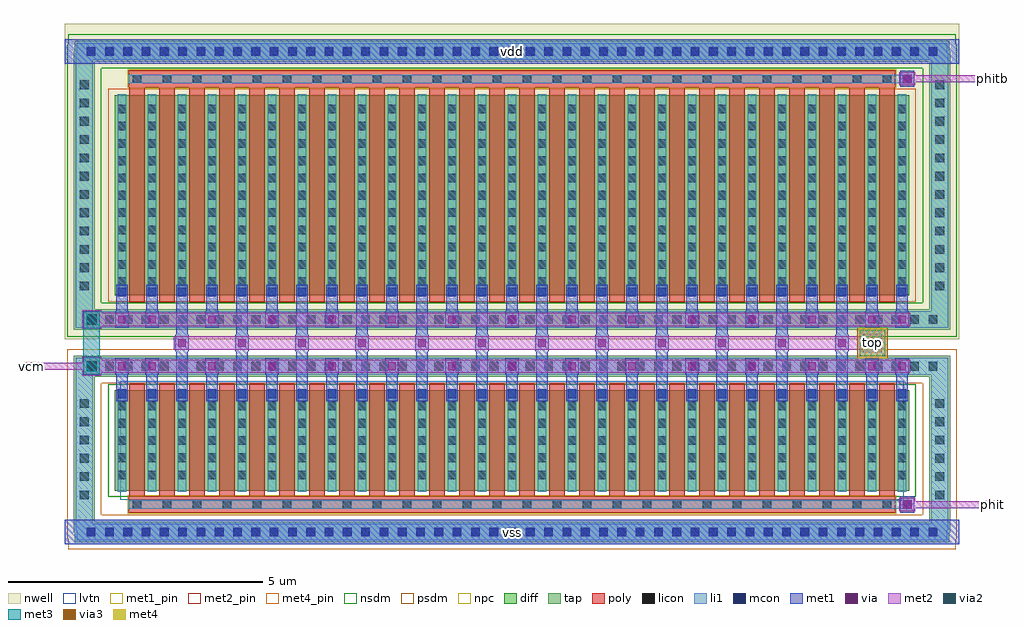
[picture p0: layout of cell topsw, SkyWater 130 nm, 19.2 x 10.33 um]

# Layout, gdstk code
import gdstk
lib = gdstk.Library(unit=1e-6, precision=1e-09)
def R(c, l, rs):  # rectangles x0, y0, x1, y1
    for r in rs: c.add(gdstk.rectangle(r[:2], r[2:], *l))
def A(c, l, x, y, w, h, nx, ny, dx, dy):  # array of equal rectangles
    R(c, l, [(x+i*dx, y+j*dy, x+i*dx+w, y+j*dy+h) for i in range(nx) for j in range(ny)])
nwell = (64, 20)
diff = (65, 20)
tap = (65, 44)
poly = (66, 20)
licon = (66, 44)
li1 = (67, 20)
mcon = (67, 44)
met1_pin = (68, 16)
met1 = (68, 20)
via = (68, 44)
met2_pin = (69, 16)
met2 = (69, 20)
via2 = (69, 44)
met3 = (70, 20)
via3 = (70, 44)
met4_pin = (71, 16)
met4 = (71, 20)
nsdm = (93, 44)
psdm = (94, 20)
npc = (95, 20)
lvtn = (125, 44)

topsw = lib.new_cell('topsw')
R(topsw, nwell, [(-8.8,4.035,8.8,10.235)])
A(topsw, diff, -7.815, 1.055, 0.88, 1.97, 26, 1, 0.59, 0)
A(topsw, diff, -7.815, 4.895, 0.88, 3.94, 26, 1, 0.59, 0)
R(topsw, tap, [(-8.6,0.035,8.6,0.445), (-8.62,0.24,-8.21,3.5), (8.21,0.24,8.62,3.5), (-8.62,3.295,8.62,3.705), (-8.62,4.215,8.62,4.625), (-8.62,4.42,-8.21,9.695), (8.21,4.42,8.62,9.695), (-8.6,9.49,8.6,9.9)])
A(topsw, poly, -7.54, 0.615, 0.33, 0.33, 26, 2, 0.59, 8.375)
A(topsw, poly, -7.22, 0.615, 0.28, 0.33, 25, 2, 0.59, 8.375)
A(topsw, poly, -7.525, 0.945, 0.3, 2.21, 26, 1, 0.59, 0)
A(topsw, poly, -7.525, 4.765, 0.3, 4.225, 26, 1, 0.59, 0)
A(topsw, licon, -8.365, 0.155, 0.17, 0.17, 47, 2, 0.36, 3.26)
A(topsw, licon, -7.46, 0.695, 0.17, 0.17, 26, 2, 0.59, 8.375)
A(topsw, licon, -8.5, 0.885, 0.17, 0.17, 1, 6, 0, 0.36)
A(topsw, licon, 8.33, 0.885, 0.17, 0.17, 1, 6, 0, 0.36)
A(topsw, licon, -7.755, 1.275, 0.17, 0.17, 1, 5, 0, 0.34)
A(topsw, licon, 7.585, 1.275, 0.17, 0.17, 1, 5, 0, 0.34)
A(topsw, licon, -8.365, 4.335, 0.17, 0.17, 47, 2, 0.36, 5.275)
A(topsw, licon, -8.5, 4.995, 0.17, 0.17, 1, 12, 0, 0.36)
A(topsw, licon, 8.33, 4.995, 0.17, 0.17, 1, 12, 0, 0.36)
A(topsw, licon, -7.755, 5.08, 0.17, 0.17, 1, 11, 0, 0.34)
A(topsw, licon, 7.585, 5.08, 0.17, 0.17, 1, 11, 0, 0.34)
R(topsw, licon, [(-7.165,1.275,-6.995,1.445), (-7.165,1.275,-6.995,1.445), (-6.575,1.275,-6.405,1.445), (-6.575,1.275,-6.405,1.445), (-5.985,1.275,-5.815,1.445), (-5.985,1.275,-5.815,1.445), (-5.395,1.275,-5.225,1.445), (-5.395,1.275,-5.225,1.445), (-4.805,1.275,-4.635,1.445), (-4.805,1.275,-4.635,1.445), (-4.215,1.275,-4.045,1.445), (-4.215,1.275,-4.045,1.445), (-3.625,1.275,-3.455,1.445), (-3.625,1.275,-3.455,1.445), (-3.035,1.275,-2.865,1.445), (-3.035,1.275,-2.865,1.445), (-2.445,1.275,-2.275,1.445), (-2.445,1.275,-2.275,1.445), (-1.855,1.275,-1.685,1.445), (-1.855,1.275,-1.685,1.445), (-1.265,1.275,-1.095,1.445), (-1.265,1.275,-1.095,1.445), (-0.675,1.275,-0.505,1.445), (-0.675,1.275,-0.505,1.445), (-0.085,1.275,0.085,1.445), (-0.085,1.275,0.085,1.445), (0.505,1.275,0.675,1.445), (0.505,1.275,0.675,1.445), (1.095,1.275,1.265,1.445), (1.095,1.275,1.265,1.445), (1.685,1.275,1.855,1.445), (1.685,1.275,1.855,1.445), (2.275,1.275,2.445,1.445), (2.275,1.275,2.445,1.445), (2.865,1.275,3.035,1.445), (2.865,1.275,3.035,1.445), (3.455,1.275,3.625,1.445), (3.455,1.275,3.625,1.445), (4.045,1.275,4.215,1.445), (4.045,1.275,4.215,1.445), (4.635,1.275,4.805,1.445), (4.635,1.275,4.805,1.445), (5.225,1.275,5.395,1.445), (5.225,1.275,5.395,1.445), (5.815,1.275,5.985,1.445), (5.815,1.275,5.985,1.445), (6.405,1.275,6.575,1.445), (6.405,1.275,6.575,1.445), (6.995,1.275,7.165,1.445), (6.995,1.275,7.165,1.445), (-7.165,1.615,-6.995,1.785), (-7.165,1.615,-6.995,1.785), (-6.575,1.615,-6.405,1.785), (-6.575,1.615,-6.405,1.785), (-5.985,1.615,-5.815,1.785), (-5.985,1.615,-5.815,1.785), (-5.395,1.615,-5.225,1.785), (-5.395,1.615,-5.225,1.785), (-4.805,1.615,-4.635,1.785), (-4.805,1.615,-4.635,1.785), (-4.215,1.615,-4.045,1.785), (-4.215,1.615,-4.045,1.785), (-3.625,1.615,-3.455,1.785), (-3.625,1.615,-3.455,1.785), (-3.035,1.615,-2.865,1.785), (-3.035,1.615,-2.865,1.785), (-2.445,1.615,-2.275,1.785), (-2.445,1.615,-2.275,1.785), (-1.855,1.615,-1.685,1.785), (-1.855,1.615,-1.685,1.785), (-1.265,1.615,-1.095,1.785), (-1.265,1.615,-1.095,1.785), (-0.675,1.615,-0.505,1.785), (-0.675,1.615,-0.505,1.785), (-0.085,1.615,0.085,1.785), (-0.085,1.615,0.085,1.785), (0.505,1.615,0.675,1.785), (0.505,1.615,0.675,1.785), (1.095,1.615,1.265,1.785), (1.095,1.615,1.265,1.785), (1.685,1.615,1.855,1.785), (1.685,1.615,1.855,1.785), (2.275,1.615,2.445,1.785), (2.275,1.615,2.445,1.785), (2.865,1.615,3.035,1.785), (2.865,1.615,3.035,1.785), (3.455,1.615,3.625,1.785), (3.455,1.615,3.625,1.785), (4.045,1.615,4.215,1.785), (4.045,1.615,4.215,1.785), (4.635,1.615,4.805,1.785), (4.635,1.615,4.805,1.785), (5.225,1.615,5.395,1.785), (5.225,1.615,5.395,1.785), (5.815,1.615,5.985,1.785), (5.815,1.615,5.985,1.785), (6.405,1.615,6.575,1.785), (6.405,1.615,6.575,1.785), (6.995,1.615,7.165,1.785), (6.995,1.615,7.165,1.785), (-7.165,1.955,-6.995,2.125), (-7.165,1.955,-6.995,2.125), (-6.575,1.955,-6.405,2.125), (-6.575,1.955,-6.405,2.125), (-5.985,1.955,-5.815,2.125), (-5.985,1.955,-5.815,2.125), (-5.395,1.955,-5.225,2.125), (-5.395,1.955,-5.225,2.125), (-4.805,1.955,-4.635,2.125), (-4.805,1.955,-4.635,2.125), (-4.215,1.955,-4.045,2.125), (-4.215,1.955,-4.045,2.125), (-3.625,1.955,-3.455,2.125), (-3.625,1.955,-3.455,2.125), (-3.035,1.955,-2.865,2.125), (-3.035,1.955,-2.865,2.125), (-2.445,1.955,-2.275,2.125), (-2.445,1.955,-2.275,2.125), (-1.855,1.955,-1.685,2.125), (-1.855,1.955,-1.685,2.125), (-1.265,1.955,-1.095,2.125), (-1.265,1.955,-1.095,2.125), (-0.675,1.955,-0.505,2.125), (-0.675,1.955,-0.505,2.125), (-0.085,1.955,0.085,2.125), (-0.085,1.955,0.085,2.125), (0.505,1.955,0.675,2.125), (0.505,1.955,0.675,2.125), (1.095,1.955,1.265,2.125), (1.095,1.955,1.265,2.125), (1.685,1.955,1.855,2.125), (1.685,1.955,1.855,2.125), (2.275,1.955,2.445,2.125), (2.275,1.955,2.445,2.125), (2.865,1.955,3.035,2.125), (2.865,1.955,3.035,2.125), (3.455,1.955,3.625,2.125), (3.455,1.955,3.625,2.125), (4.045,1.955,4.215,2.125), (4.045,1.955,4.215,2.125), (4.635,1.955,4.805,2.125), (4.635,1.955,4.805,2.125), (5.225,1.955,5.395,2.125), (5.225,1.955,5.395,2.125), (5.815,1.955,5.985,2.125), (5.815,1.955,5.985,2.125), (6.405,1.955,6.575,2.125), (6.405,1.955,6.575,2.125), (6.995,1.955,7.165,2.125), (6.995,1.955,7.165,2.125), (-7.165,2.295,-6.995,2.465), (-7.165,2.295,-6.995,2.465), (-6.575,2.295,-6.405,2.465), (-6.575,2.295,-6.405,2.465), (-5.985,2.295,-5.815,2.465), (-5.985,2.295,-5.815,2.465), (-5.395,2.295,-5.225,2.465), (-5.395,2.295,-5.225,2.465), (-4.805,2.295,-4.635,2.465), (-4.805,2.295,-4.635,2.465), (-4.215,2.295,-4.045,2.465), (-4.215,2.295,-4.045,2.465), (-3.625,2.295,-3.455,2.465), (-3.625,2.295,-3.455,2.465), (-3.035,2.295,-2.865,2.465), (-3.035,2.295,-2.865,2.465), (-2.445,2.295,-2.275,2.465), (-2.445,2.295,-2.275,2.465), (-1.855,2.295,-1.685,2.465), (-1.855,2.295,-1.685,2.465), (-1.265,2.295,-1.095,2.465), (-1.265,2.295,-1.095,2.465), (-0.675,2.295,-0.505,2.465), (-0.675,2.295,-0.505,2.465), (-0.085,2.295,0.085,2.465), (-0.085,2.295,0.085,2.465), (0.505,2.295,0.675,2.465), (0.505,2.295,0.675,2.465), (1.095,2.295,1.265,2.465), (1.095,2.295,1.265,2.465), (1.685,2.295,1.855,2.465), (1.685,2.295,1.855,2.465), (2.275,2.295,2.445,2.465), (2.275,2.295,2.445,2.465), (2.865,2.295,3.035,2.465), (2.865,2.295,3.035,2.465), (3.455,2.295,3.625,2.465), (3.455,2.295,3.625,2.465), (4.045,2.295,4.215,2.465), (4.045,2.295,4.215,2.465), (4.635,2.295,4.805,2.465), (4.635,2.295,4.805,2.465), (5.225,2.295,5.395,2.465), (5.225,2.295,5.395,2.465), (5.815,2.295,5.985,2.465), (5.815,2.295,5.985,2.465), (6.405,2.295,6.575,2.465), (6.405,2.295,6.575,2.465), (6.995,2.295,7.165,2.465), (6.995,2.295,7.165,2.465), (-7.165,2.635,-6.995,2.805), (-7.165,2.635,-6.995,2.805), (-6.575,2.635,-6.405,2.805), (-6.575,2.635,-6.405,2.805), (-5.985,2.635,-5.815,2.805), (-5.985,2.635,-5.815,2.805), (-5.395,2.635,-5.225,2.805), (-5.395,2.635,-5.225,2.805), (-4.805,2.635,-4.635,2.805), (-4.805,2.635,-4.635,2.805), (-4.215,2.635,-4.045,2.805), (-4.215,2.635,-4.045,2.805), (-3.625,2.635,-3.455,2.805), (-3.625,2.635,-3.455,2.805), (-3.035,2.635,-2.865,2.805), (-3.035,2.635,-2.865,2.805), (-2.445,2.635,-2.275,2.805), (-2.445,2.635,-2.275,2.805), (-1.855,2.635,-1.685,2.805), (-1.855,2.635,-1.685,2.805), (-1.265,2.635,-1.095,2.805), (-1.265,2.635,-1.095,2.805), (-0.675,2.635,-0.505,2.805), (-0.675,2.635,-0.505,2.805), (-0.085,2.635,0.085,2.805), (-0.085,2.635,0.085,2.805), (0.505,2.635,0.675,2.805), (0.505,2.635,0.675,2.805), (1.095,2.635,1.265,2.805), (1.095,2.635,1.265,2.805), (1.685,2.635,1.855,2.805), (1.685,2.635,1.855,2.805), (2.275,2.635,2.445,2.805), (2.275,2.635,2.445,2.805), (2.865,2.635,3.035,2.805), (2.865,2.635,3.035,2.805), (3.455,2.635,3.625,2.805), (3.455,2.635,3.625,2.805), (4.045,2.635,4.215,2.805), (4.045,2.635,4.215,2.805), (4.635,2.635,4.805,2.805), (4.635,2.635,4.805,2.805), (5.225,2.635,5.395,2.805), (5.225,2.635,5.395,2.805), (5.815,2.635,5.985,2.805), (5.815,2.635,5.985,2.805), (6.405,2.635,6.575,2.805), (6.405,2.635,6.575,2.805), (6.995,2.635,7.165,2.805), (6.995,2.635,7.165,2.805), (-7.165,5.08,-6.995,5.25), (-7.165,5.08,-6.995,5.25), (-6.575,5.08,-6.405,5.25), (-6.575,5.08,-6.405,5.25), (-5.985,5.08,-5.815,5.25), (-5.985,5.08,-5.815,5.25), (-5.395,5.08,-5.225,5.25), (-5.395,5.08,-5.225,5.25), (-4.805,5.08,-4.635,5.25), (-4.805,5.08,-4.635,5.25), (-4.215,5.08,-4.045,5.25), (-4.215,5.08,-4.045,5.25), (-3.625,5.08,-3.455,5.25), (-3.625,5.08,-3.455,5.25), (-3.035,5.08,-2.865,5.25), (-3.035,5.08,-2.865,5.25), (-2.445,5.08,-2.275,5.25), (-2.445,5.08,-2.275,5.25), (-1.855,5.08,-1.685,5.25), (-1.855,5.08,-1.685,5.25), (-1.265,5.08,-1.095,5.25), (-1.265,5.08,-1.095,5.25), (-0.675,5.08,-0.505,5.25), (-0.675,5.08,-0.505,5.25), (-0.085,5.08,0.085,5.25), (-0.085,5.08,0.085,5.25), (0.505,5.08,0.675,5.25), (0.505,5.08,0.675,5.25), (1.095,5.08,1.265,5.25), (1.095,5.08,1.265,5.25), (1.685,5.08,1.855,5.25), (1.685,5.08,1.855,5.25), (2.275,5.08,2.445,5.25), (2.275,5.08,2.445,5.25), (2.865,5.08,3.035,5.25), (2.865,5.08,3.035,5.25), (3.455,5.08,3.625,5.25), (3.455,5.08,3.625,5.25), (4.045,5.08,4.215,5.25), (4.045,5.08,4.215,5.25), (4.635,5.08,4.805,5.25), (4.635,5.08,4.805,5.25), (5.225,5.08,5.395,5.25), (5.225,5.08,5.395,5.25), (5.815,5.08,5.985,5.25), (5.815,5.08,5.985,5.25), (6.405,5.08,6.575,5.25), (6.405,5.08,6.575,5.25), (6.995,5.08,7.165,5.25), (6.995,5.08,7.165,5.25), (-7.165,5.42,-6.995,5.59), (-7.165,5.42,-6.995,5.59), (-6.575,5.42,-6.405,5.59), (-6.575,5.42,-6.405,5.59), (-5.985,5.42,-5.815,5.59), (-5.985,5.42,-5.815,5.59), (-5.395,5.42,-5.225,5.59), (-5.395,5.42,-5.225,5.59), (-4.805,5.42,-4.635,5.59), (-4.805,5.42,-4.635,5.59), (-4.215,5.42,-4.045,5.59), (-4.215,5.42,-4.045,5.59), (-3.625,5.42,-3.455,5.59), (-3.625,5.42,-3.455,5.59), (-3.035,5.42,-2.865,5.59), (-3.035,5.42,-2.865,5.59), (-2.445,5.42,-2.275,5.59), (-2.445,5.42,-2.275,5.59), (-1.855,5.42,-1.685,5.59), (-1.855,5.42,-1.685,5.59), (-1.265,5.42,-1.095,5.59), (-1.265,5.42,-1.095,5.59), (-0.675,5.42,-0.505,5.59), (-0.675,5.42,-0.505,5.59), (-0.085,5.42,0.085,5.59), (-0.085,5.42,0.085,5.59), (0.505,5.42,0.675,5.59), (0.505,5.42,0.675,5.59), (1.095,5.42,1.265,5.59), (1.095,5.42,1.265,5.59), (1.685,5.42,1.855,5.59), (1.685,5.42,1.855,5.59), (2.275,5.42,2.445,5.59), (2.275,5.42,2.445,5.59), (2.865,5.42,3.035,5.59), (2.865,5.42,3.035,5.59), (3.455,5.42,3.625,5.59), (3.455,5.42,3.625,5.59), (4.045,5.42,4.215,5.59), (4.045,5.42,4.215,5.59), (4.635,5.42,4.805,5.59), (4.635,5.42,4.805,5.59), (5.225,5.42,5.395,5.59), (5.225,5.42,5.395,5.59), (5.815,5.42,5.985,5.59), (5.815,5.42,5.985,5.59), (6.405,5.42,6.575,5.59), (6.405,5.42,6.575,5.59), (6.995,5.42,7.165,5.59), (6.995,5.42,7.165,5.59), (-7.165,5.76,-6.995,5.93), (-7.165,5.76,-6.995,5.93), (-6.575,5.76,-6.405,5.93), (-6.575,5.76,-6.405,5.93), (-5.985,5.76,-5.815,5.93), (-5.985,5.76,-5.815,5.93), (-5.395,5.76,-5.225,5.93), (-5.395,5.76,-5.225,5.93), (-4.805,5.76,-4.635,5.93), (-4.805,5.76,-4.635,5.93), (-4.215,5.76,-4.045,5.93), (-4.215,5.76,-4.045,5.93), (-3.625,5.76,-3.455,5.93), (-3.625,5.76,-3.455,5.93), (-3.035,5.76,-2.865,5.93), (-3.035,5.76,-2.865,5.93), (-2.445,5.76,-2.275,5.93), (-2.445,5.76,-2.275,5.93), (-1.855,5.76,-1.685,5.93), (-1.855,5.76,-1.685,5.93), (-1.265,5.76,-1.095,5.93), (-1.265,5.76,-1.095,5.93), (-0.675,5.76,-0.505,5.93), (-0.675,5.76,-0.505,5.93), (-0.085,5.76,0.085,5.93), (-0.085,5.76,0.085,5.93), (0.505,5.76,0.675,5.93), (0.505,5.76,0.675,5.93), (1.095,5.76,1.265,5.93), (1.095,5.76,1.265,5.93), (1.685,5.76,1.855,5.93), (1.685,5.76,1.855,5.93), (2.275,5.76,2.445,5.93), (2.275,5.76,2.445,5.93), (2.865,5.76,3.035,5.93), (2.865,5.76,3.035,5.93), (3.455,5.76,3.625,5.93), (3.455,5.76,3.625,5.93), (4.045,5.76,4.215,5.93), (4.045,5.76,4.215,5.93), (4.635,5.76,4.805,5.93), (4.635,5.76,4.805,5.93), (5.225,5.76,5.395,5.93), (5.225,5.76,5.395,5.93), (5.815,5.76,5.985,5.93), (5.815,5.76,5.985,5.93), (6.405,5.76,6.575,5.93), (6.405,5.76,6.575,5.93), (6.995,5.76,7.165,5.93), (6.995,5.76,7.165,5.93), (-7.165,6.1,-6.995,6.27), (-7.165,6.1,-6.995,6.27), (-6.575,6.1,-6.405,6.27), (-6.575,6.1,-6.405,6.27), (-5.985,6.1,-5.815,6.27), (-5.985,6.1,-5.815,6.27), (-5.395,6.1,-5.225,6.27), (-5.395,6.1,-5.225,6.27), (-4.805,6.1,-4.635,6.27), (-4.805,6.1,-4.635,6.27), (-4.215,6.1,-4.045,6.27), (-4.215,6.1,-4.045,6.27), (-3.625,6.1,-3.455,6.27), (-3.625,6.1,-3.455,6.27), (-3.035,6.1,-2.865,6.27), (-3.035,6.1,-2.865,6.27), (-2.445,6.1,-2.275,6.27), (-2.445,6.1,-2.275,6.27), (-1.855,6.1,-1.685,6.27), (-1.855,6.1,-1.685,6.27), (-1.265,6.1,-1.095,6.27), (-1.265,6.1,-1.095,6.27), (-0.675,6.1,-0.505,6.27), (-0.675,6.1,-0.505,6.27), (-0.085,6.1,0.085,6.27), (-0.085,6.1,0.085,6.27), (0.505,6.1,0.675,6.27), (0.505,6.1,0.675,6.27), (1.095,6.1,1.265,6.27), (1.095,6.1,1.265,6.27), (1.685,6.1,1.855,6.27), (1.685,6.1,1.855,6.27), (2.275,6.1,2.445,6.27), (2.275,6.1,2.445,6.27), (2.865,6.1,3.035,6.27), (2.865,6.1,3.035,6.27), (3.455,6.1,3.625,6.27), (3.455,6.1,3.625,6.27), (4.045,6.1,4.215,6.27), (4.045,6.1,4.215,6.27), (4.635,6.1,4.805,6.27), (4.635,6.1,4.805,6.27), (5.225,6.1,5.395,6.27), (5.225,6.1,5.395,6.27), (5.815,6.1,5.985,6.27), (5.815,6.1,5.985,6.27), (6.405,6.1,6.575,6.27), (6.405,6.1,6.575,6.27), (6.995,6.1,7.165,6.27), (6.995,6.1,7.165,6.27), (-7.165,6.44,-6.995,6.61), (-7.165,6.44,-6.995,6.61), (-6.575,6.44,-6.405,6.61), (-6.575,6.44,-6.405,6.61), (-5.985,6.44,-5.815,6.61), (-5.985,6.44,-5.815,6.61), (-5.395,6.44,-5.225,6.61), (-5.395,6.44,-5.225,6.61), (-4.805,6.44,-4.635,6.61), (-4.805,6.44,-4.635,6.61), (-4.215,6.44,-4.045,6.61), (-4.215,6.44,-4.045,6.61), (-3.625,6.44,-3.455,6.61), (-3.625,6.44,-3.455,6.61), (-3.035,6.44,-2.865,6.61), (-3.035,6.44,-2.865,6.61), (-2.445,6.44,-2.275,6.61), (-2.445,6.44,-2.275,6.61), (-1.855,6.44,-1.685,6.61), (-1.855,6.44,-1.685,6.61), (-1.265,6.44,-1.095,6.61), (-1.265,6.44,-1.095,6.61), (-0.675,6.44,-0.505,6.61), (-0.675,6.44,-0.505,6.61), (-0.085,6.44,0.085,6.61), (-0.085,6.44,0.085,6.61), (0.505,6.44,0.675,6.61), (0.505,6.44,0.675,6.61), (1.095,6.44,1.265,6.61), (1.095,6.44,1.265,6.61), (1.685,6.44,1.855,6.61), (1.685,6.44,1.855,6.61), (2.275,6.44,2.445,6.61), (2.275,6.44,2.445,6.61), (2.865,6.44,3.035,6.61), (2.865,6.44,3.035,6.61), (3.455,6.44,3.625,6.61), (3.455,6.44,3.625,6.61), (4.045,6.44,4.215,6.61), (4.045,6.44,4.215,6.61), (4.635,6.44,4.805,6.61), (4.635,6.44,4.805,6.61), (5.225,6.44,5.395,6.61), (5.225,6.44,5.395,6.61), (5.815,6.44,5.985,6.61), (5.815,6.44,5.985,6.61), (6.405,6.44,6.575,6.61), (6.405,6.44,6.575,6.61), (6.995,6.44,7.165,6.61), (6.995,6.44,7.165,6.61), (-7.165,6.78,-6.995,6.95), (-7.165,6.78,-6.995,6.95), (-6.575,6.78,-6.405,6.95), (-6.575,6.78,-6.405,6.95), (-5.985,6.78,-5.815,6.95), (-5.985,6.78,-5.815,6.95), (-5.395,6.78,-5.225,6.95), (-5.395,6.78,-5.225,6.95), (-4.805,6.78,-4.635,6.95), (-4.805,6.78,-4.635,6.95), (-4.215,6.78,-4.045,6.95), (-4.215,6.78,-4.045,6.95), (-3.625,6.78,-3.455,6.95), (-3.625,6.78,-3.455,6.95), (-3.035,6.78,-2.865,6.95), (-3.035,6.78,-2.865,6.95), (-2.445,6.78,-2.275,6.95), (-2.445,6.78,-2.275,6.95), (-1.855,6.78,-1.685,6.95), (-1.855,6.78,-1.685,6.95), (-1.265,6.78,-1.095,6.95), (-1.265,6.78,-1.095,6.95), (-0.675,6.78,-0.505,6.95), (-0.675,6.78,-0.505,6.95), (-0.085,6.78,0.085,6.95), (-0.085,6.78,0.085,6.95), (0.505,6.78,0.675,6.95), (0.505,6.78,0.675,6.95), (1.095,6.78,1.265,6.95), (1.095,6.78,1.265,6.95), (1.685,6.78,1.855,6.95), (1.685,6.78,1.855,6.95), (2.275,6.78,2.445,6.95), (2.275,6.78,2.445,6.95), (2.865,6.78,3.035,6.95), (2.865,6.78,3.035,6.95), (3.455,6.78,3.625,6.95), (3.455,6.78,3.625,6.95), (4.045,6.78,4.215,6.95), (4.045,6.78,4.215,6.95), (4.635,6.78,4.805,6.95), (4.635,6.78,4.805,6.95), (5.225,6.78,5.395,6.95), (5.225,6.78,5.395,6.95), (5.815,6.78,5.985,6.95), (5.815,6.78,5.985,6.95), (6.405,6.78,6.575,6.95), (6.405,6.78,6.575,6.95), (6.995,6.78,7.165,6.95), (6.995,6.78,7.165,6.95), (-7.165,7.12,-6.995,7.29), (-7.165,7.12,-6.995,7.29), (-6.575,7.12,-6.405,7.29), (-6.575,7.12,-6.405,7.29), (-5.985,7.12,-5.815,7.29), (-5.985,7.12,-5.815,7.29), (-5.395,7.12,-5.225,7.29), (-5.395,7.12,-5.225,7.29), (-4.805,7.12,-4.635,7.29), (-4.805,7.12,-4.635,7.29), (-4.215,7.12,-4.045,7.29), (-4.215,7.12,-4.045,7.29), (-3.625,7.12,-3.455,7.29), (-3.625,7.12,-3.455,7.29), (-3.035,7.12,-2.865,7.29), (-3.035,7.12,-2.865,7.29), (-2.445,7.12,-2.275,7.29), (-2.445,7.12,-2.275,7.29), (-1.855,7.12,-1.685,7.29), (-1.855,7.12,-1.685,7.29), (-1.265,7.12,-1.095,7.29), (-1.265,7.12,-1.095,7.29), (-0.675,7.12,-0.505,7.29), (-0.675,7.12,-0.505,7.29), (-0.085,7.12,0.085,7.29), (-0.085,7.12,0.085,7.29), (0.505,7.12,0.675,7.29), (0.505,7.12,0.675,7.29), (1.095,7.12,1.265,7.29), (1.095,7.12,1.265,7.29), (1.685,7.12,1.855,7.29), (1.685,7.12,1.855,7.29), (2.275,7.12,2.445,7.29), (2.275,7.12,2.445,7.29), (2.865,7.12,3.035,7.29), (2.865,7.12,3.035,7.29), (3.455,7.12,3.625,7.29), (3.455,7.12,3.625,7.29), (4.045,7.12,4.215,7.29), (4.045,7.12,4.215,7.29), (4.635,7.12,4.805,7.29), (4.635,7.12,4.805,7.29), (5.225,7.12,5.395,7.29), (5.225,7.12,5.395,7.29), (5.815,7.12,5.985,7.29), (5.815,7.12,5.985,7.29), (6.405,7.12,6.575,7.29), (6.405,7.12,6.575,7.29), (6.995,7.12,7.165,7.29), (6.995,7.12,7.165,7.29), (-7.165,7.46,-6.995,7.63), (-7.165,7.46,-6.995,7.63), (-6.575,7.46,-6.405,7.63), (-6.575,7.46,-6.405,7.63), (-5.985,7.46,-5.815,7.63), (-5.985,7.46,-5.815,7.63), (-5.395,7.46,-5.225,7.63), (-5.395,7.46,-5.225,7.63), (-4.805,7.46,-4.635,7.63), (-4.805,7.46,-4.635,7.63), (-4.215,7.46,-4.045,7.63), (-4.215,7.46,-4.045,7.63), (-3.625,7.46,-3.455,7.63), (-3.625,7.46,-3.455,7.63), (-3.035,7.46,-2.865,7.63), (-3.035,7.46,-2.865,7.63), (-2.445,7.46,-2.275,7.63), (-2.445,7.46,-2.275,7.63), (-1.855,7.46,-1.685,7.63), (-1.855,7.46,-1.685,7.63), (-1.265,7.46,-1.095,7.63), (-1.265,7.46,-1.095,7.63), (-0.675,7.46,-0.505,7.63), (-0.675,7.46,-0.505,7.63), (-0.085,7.46,0.085,7.63), (-0.085,7.46,0.085,7.63), (0.505,7.46,0.675,7.63), (0.505,7.46,0.675,7.63), (1.095,7.46,1.265,7.63), (1.095,7.46,1.265,7.63), (1.685,7.46,1.855,7.63), (1.685,7.46,1.855,7.63), (2.275,7.46,2.445,7.63), (2.275,7.46,2.445,7.63), (2.865,7.46,3.035,7.63), (2.865,7.46,3.035,7.63), (3.455,7.46,3.625,7.63), (3.455,7.46,3.625,7.63), (4.045,7.46,4.215,7.63), (4.045,7.46,4.215,7.63), (4.635,7.46,4.805,7.63), (4.635,7.46,4.805,7.63), (5.225,7.46,5.395,7.63), (5.225,7.46,5.395,7.63), (5.815,7.46,5.985,7.63), (5.815,7.46,5.985,7.63), (6.405,7.46,6.575,7.63), (6.405,7.46,6.575,7.63), (6.995,7.46,7.165,7.63), (6.995,7.46,7.165,7.63), (-7.165,7.8,-6.995,7.97), (-7.165,7.8,-6.995,7.97), (-6.575,7.8,-6.405,7.97), (-6.575,7.8,-6.405,7.97), (-5.985,7.8,-5.815,7.97), (-5.985,7.8,-5.815,7.97), (-5.395,7.8,-5.225,7.97), (-5.395,7.8,-5.225,7.97), (-4.805,7.8,-4.635,7.97), (-4.805,7.8,-4.635,7.97), (-4.215,7.8,-4.045,7.97), (-4.215,7.8,-4.045,7.97), (-3.625,7.8,-3.455,7.97), (-3.625,7.8,-3.455,7.97), (-3.035,7.8,-2.865,7.97), (-3.035,7.8,-2.865,7.97), (-2.445,7.8,-2.275,7.97), (-2.445,7.8,-2.275,7.97), (-1.855,7.8,-1.685,7.97), (-1.855,7.8,-1.685,7.97), (-1.265,7.8,-1.095,7.97), (-1.265,7.8,-1.095,7.97), (-0.675,7.8,-0.505,7.97), (-0.675,7.8,-0.505,7.97), (-0.085,7.8,0.085,7.97), (-0.085,7.8,0.085,7.97), (0.505,7.8,0.675,7.97), (0.505,7.8,0.675,7.97), (1.095,7.8,1.265,7.97), (1.095,7.8,1.265,7.97), (1.685,7.8,1.855,7.97), (1.685,7.8,1.855,7.97), (2.275,7.8,2.445,7.97), (2.275,7.8,2.445,7.97), (2.865,7.8,3.035,7.97), (2.865,7.8,3.035,7.97), (3.455,7.8,3.625,7.97), (3.455,7.8,3.625,7.97), (4.045,7.8,4.215,7.97), (4.045,7.8,4.215,7.97), (4.635,7.8,4.805,7.97), (4.635,7.8,4.805,7.97), (5.225,7.8,5.395,7.97), (5.225,7.8,5.395,7.97), (5.815,7.8,5.985,7.97), (5.815,7.8,5.985,7.97), (6.405,7.8,6.575,7.97), (6.405,7.8,6.575,7.97), (6.995,7.8,7.165,7.97), (6.995,7.8,7.165,7.97), (-7.165,8.14,-6.995,8.31), (-7.165,8.14,-6.995,8.31), (-6.575,8.14,-6.405,8.31), (-6.575,8.14,-6.405,8.31), (-5.985,8.14,-5.815,8.31), (-5.985,8.14,-5.815,8.31), (-5.395,8.14,-5.225,8.31), (-5.395,8.14,-5.225,8.31), (-4.805,8.14,-4.635,8.31), (-4.805,8.14,-4.635,8.31), (-4.215,8.14,-4.045,8.31), (-4.215,8.14,-4.045,8.31), (-3.625,8.14,-3.455,8.31), (-3.625,8.14,-3.455,8.31), (-3.035,8.14,-2.865,8.31), (-3.035,8.14,-2.865,8.31), (-2.445,8.14,-2.275,8.31), (-2.445,8.14,-2.275,8.31), (-1.855,8.14,-1.685,8.31), (-1.855,8.14,-1.685,8.31), (-1.265,8.14,-1.095,8.31), (-1.265,8.14,-1.095,8.31), (-0.675,8.14,-0.505,8.31), (-0.675,8.14,-0.505,8.31), (-0.085,8.14,0.085,8.31), (-0.085,8.14,0.085,8.31), (0.505,8.14,0.675,8.31), (0.505,8.14,0.675,8.31), (1.095,8.14,1.265,8.31), (1.095,8.14,1.265,8.31), (1.685,8.14,1.855,8.31), (1.685,8.14,1.855,8.31), (2.275,8.14,2.445,8.31), (2.275,8.14,2.445,8.31), (2.865,8.14,3.035,8.31), (2.865,8.14,3.035,8.31), (3.455,8.14,3.625,8.31), (3.455,8.14,3.625,8.31), (4.045,8.14,4.215,8.31), (4.045,8.14,4.215,8.31), (4.635,8.14,4.805,8.31), (4.635,8.14,4.805,8.31), (5.225,8.14,5.395,8.31), (5.225,8.14,5.395,8.31), (5.815,8.14,5.985,8.31), (5.815,8.14,5.985,8.31), (6.405,8.14,6.575,8.31), (6.405,8.14,6.575,8.31), (6.995,8.14,7.165,8.31), (6.995,8.14,7.165,8.31), (-7.165,8.48,-6.995,8.65), (-7.165,8.48,-6.995,8.65), (-6.575,8.48,-6.405,8.65), (-6.575,8.48,-6.405,8.65), (-5.985,8.48,-5.815,8.65), (-5.985,8.48,-5.815,8.65), (-5.395,8.48,-5.225,8.65), (-5.395,8.48,-5.225,8.65), (-4.805,8.48,-4.635,8.65), (-4.805,8.48,-4.635,8.65), (-4.215,8.48,-4.045,8.65), (-4.215,8.48,-4.045,8.65), (-3.625,8.48,-3.455,8.65), (-3.625,8.48,-3.455,8.65), (-3.035,8.48,-2.865,8.65), (-3.035,8.48,-2.865,8.65), (-2.445,8.48,-2.275,8.65), (-2.445,8.48,-2.275,8.65), (-1.855,8.48,-1.685,8.65), (-1.855,8.48,-1.685,8.65), (-1.265,8.48,-1.095,8.65), (-1.265,8.48,-1.095,8.65), (-0.675,8.48,-0.505,8.65), (-0.675,8.48,-0.505,8.65), (-0.085,8.48,0.085,8.65), (-0.085,8.48,0.085,8.65), (0.505,8.48,0.675,8.65), (0.505,8.48,0.675,8.65), (1.095,8.48,1.265,8.65), (1.095,8.48,1.265,8.65), (1.685,8.48,1.855,8.65), (1.685,8.48,1.855,8.65), (2.275,8.48,2.445,8.65), (2.275,8.48,2.445,8.65), (2.865,8.48,3.035,8.65), (2.865,8.48,3.035,8.65), (3.455,8.48,3.625,8.65), (3.455,8.48,3.625,8.65), (4.045,8.48,4.215,8.65), (4.045,8.48,4.215,8.65), (4.635,8.48,4.805,8.65), (4.635,8.48,4.805,8.65), (5.225,8.48,5.395,8.65), (5.225,8.48,5.395,8.65), (5.815,8.48,5.985,8.65), (5.815,8.48,5.985,8.65), (6.405,8.48,6.575,8.65), (6.405,8.48,6.575,8.65), (6.995,8.48,7.165,8.65), (6.995,8.48,7.165,8.65)])
A(topsw, li1, -7.54, 0.695, 0.33, 0.17, 26, 2, 0.59, 8.375)
A(topsw, li1, -7.22, 0.695, 0.28, 0.17, 25, 2, 0.59, 8.375)
R(topsw, li1, [(-8.56,0.075,8.56,0.405), (-8.58,0.28,-8.25,3.46), (8.25,0.28,8.58,3.46), (-7.54,0.695,7.86,0.865), (-7.755,1.035,-7.585,3.045), (-7.165,1.035,-6.995,3.045), (-7.165,1.035,-6.995,3.045), (-6.575,1.035,-6.405,3.045), (-6.575,1.035,-6.405,3.045), (-5.985,1.035,-5.815,3.045), (-5.985,1.035,-5.815,3.045), (-5.395,1.035,-5.225,3.045), (-5.395,1.035,-5.225,3.045), (-4.805,1.035,-4.635,3.045), (-4.805,1.035,-4.635,3.045), (-4.215,1.035,-4.045,3.045), (-4.215,1.035,-4.045,3.045), (-3.625,1.035,-3.455,3.045), (-3.625,1.035,-3.455,3.045), (-3.035,1.035,-2.865,3.045), (-3.035,1.035,-2.865,3.045), (-2.445,1.035,-2.275,3.045), (-2.445,1.035,-2.275,3.045), (-1.855,1.035,-1.685,3.045), (-1.855,1.035,-1.685,3.045), (-1.265,1.035,-1.095,3.045), (-1.265,1.035,-1.095,3.045), (-0.675,1.035,-0.505,3.045), (-0.675,1.035,-0.505,3.045), (-0.085,1.035,0.085,3.045), (-0.085,1.035,0.085,3.045), (0.505,1.035,0.675,3.045), (0.505,1.035,0.675,3.045), (1.095,1.035,1.265,3.045), (1.095,1.035,1.265,3.045), (1.685,1.035,1.855,3.045), (1.685,1.035,1.855,3.045), (2.275,1.035,2.445,3.045), (2.275,1.035,2.445,3.045), (2.865,1.035,3.035,3.045), (2.865,1.035,3.035,3.045), (3.455,1.035,3.625,3.045), (3.455,1.035,3.625,3.045), (4.045,1.035,4.215,3.045), (4.045,1.035,4.215,3.045), (4.635,1.035,4.805,3.045), (4.635,1.035,4.805,3.045), (5.225,1.035,5.395,3.045), (5.225,1.035,5.395,3.045), (5.815,1.035,5.985,3.045), (5.815,1.035,5.985,3.045), (6.405,1.035,6.575,3.045), (6.405,1.035,6.575,3.045), (6.995,1.035,7.165,3.045), (6.995,1.035,7.165,3.045), (7.585,1.035,7.755,3.045), (-8.58,3.335,8.58,3.665), (-8.58,4.255,8.58,4.585), (-8.58,4.46,-8.25,9.655), (8.25,4.46,8.58,9.655), (-7.755,4.875,-7.585,8.855), (-7.165,4.875,-6.995,8.855), (-7.165,4.875,-6.995,8.855), (-6.575,4.875,-6.405,8.855), (-6.575,4.875,-6.405,8.855), (-5.985,4.875,-5.815,8.855), (-5.985,4.875,-5.815,8.855), (-5.395,4.875,-5.225,8.855), (-5.395,4.875,-5.225,8.855), (-4.805,4.875,-4.635,8.855), (-4.805,4.875,-4.635,8.855), (-4.215,4.875,-4.045,8.855), (-4.215,4.875,-4.045,8.855), (-3.625,4.875,-3.455,8.855), (-3.625,4.875,-3.455,8.855), (-3.035,4.875,-2.865,8.855), (-3.035,4.875,-2.865,8.855), (-2.445,4.875,-2.275,8.855), (-2.445,4.875,-2.275,8.855), (-1.855,4.875,-1.685,8.855), (-1.855,4.875,-1.685,8.855), (-1.265,4.875,-1.095,8.855), (-1.265,4.875,-1.095,8.855), (-0.675,4.875,-0.505,8.855), (-0.675,4.875,-0.505,8.855), (-0.085,4.875,0.085,8.855), (-0.085,4.875,0.085,8.855), (0.505,4.875,0.675,8.855), (0.505,4.875,0.675,8.855), (1.095,4.875,1.265,8.855), (1.095,4.875,1.265,8.855), (1.685,4.875,1.855,8.855), (1.685,4.875,1.855,8.855), (2.275,4.875,2.445,8.855), (2.275,4.875,2.445,8.855), (2.865,4.875,3.035,8.855), (2.865,4.875,3.035,8.855), (3.455,4.875,3.625,8.855), (3.455,4.875,3.625,8.855), (4.045,4.875,4.215,8.855), (4.045,4.875,4.215,8.855), (4.635,4.875,4.805,8.855), (4.635,4.875,4.805,8.855), (5.225,4.875,5.395,8.855), (5.225,4.875,5.395,8.855), (5.815,4.875,5.985,8.855), (5.815,4.875,5.985,8.855), (6.405,4.875,6.575,8.855), (6.405,4.875,6.575,8.855), (6.995,4.875,7.165,8.855), (6.995,4.875,7.165,8.855), (7.585,4.875,7.755,8.855), (-7.54,9.07,7.86,9.24), (-8.56,9.53,8.56,9.86)])
A(topsw, mcon, -8.365, 0.155, 0.17, 0.17, 47, 2, 0.36, 9.455)
A(topsw, mcon, -7.755, 2.875, 0.17, 0.17, 27, 2, 0.59, 2)
R(topsw, mcon, [(7.69,0.695,7.86,0.865), (7.69,9.07,7.86,9.24)])
R(topsw, met1_pin, [(-0.15,0.16,0.15,0.32), (-0.15,9.615,0.15,9.775)])
A(topsw, met1, -7.785, 2.815, 0.23, 0.29, 27, 2, 0.59, 2)
A(topsw, met1, -7.195, 2.96, 0.23, 0.54, 13, 2, 1.18, 1.46)
A(topsw, met1, -6.605, 2.96, 0.23, 1, 12, 2, 1.18, 1)
A(topsw, met1, -7.215, 3.34, 0.27, 0.32, 13, 2, 1.18, 0.92)
A(topsw, met1, -7.195, 3.34, 0.23, 0.32, 13, 2, 1.18, 0.92)
A(topsw, met1, -6.625, 3.8, 0.27, 0.32, 12, 1, 1.18, 0)
A(topsw, met1, -6.605, 3.8, 0.23, 0.32, 12, 1, 1.18, 0)
R(topsw, met1, [(-8.8,0,8.8,0.48), (7.64,0.62,7.91,0.94), (-7.785,2.96,-7.555,3.5), (7.555,2.96,7.785,3.5), (-7.805,3.34,-7.535,3.66), (-7.785,3.34,-7.555,3.66), (7.535,3.34,7.805,3.66), (7.555,3.34,7.785,3.66), (-7.805,4.26,-7.535,4.58), (-7.785,4.26,-7.555,4.58), (7.535,4.26,7.805,4.58), (7.555,4.26,7.785,4.58), (-7.785,4.42,-7.555,4.96), (7.555,4.42,7.785,4.96), (7.64,8.995,7.91,9.315), (-8.8,9.455,8.8,9.935)])
A(topsw, via, -7.155, 3.425, 0.15, 0.15, 13, 2, 1.18, 0.92)
A(topsw, via, -6.565, 3.885, 0.15, 0.15, 12, 1, 1.18, 0)
R(topsw, via, [(7.7,0.705,7.85,0.855), (-7.745,3.425,-7.595,3.575), (7.595,3.425,7.745,3.575), (-7.745,4.345,-7.595,4.495), (7.595,4.345,7.745,4.495), (7.7,9.08,7.85,9.23)])
R(topsw, met2_pin, [(9.3,0.7,9.6,0.86), (-9.6,3.42,-9.3,3.58), (9.3,9.075,9.6,9.235)])
A(topsw, met2, -7.24, 3.37, 0.32, 0.26, 13, 2, 1.18, 0.92)
A(topsw, met2, -6.65, 3.83, 0.32, 0.26, 12, 1, 1.18, 0)
R(topsw, met2, [(7.615,0.65,7.935,0.91), (7.775,0.71,9.6,0.85), (-8.455,3.315,-8.085,3.685), (-8.43,3.37,7.83,3.63), (-7.83,3.37,-7.51,3.63), (7.51,3.37,7.83,3.63), (-9.6,3.43,-7.67,3.57), (6.905,3.775,7.275,4.145), (-6.65,3.83,6.65,4.09), (6.49,3.83,7.09,4.09), (-8.455,4.235,-8.085,4.605), (-8.43,4.29,7.83,4.55), (-7.83,4.29,-7.51,4.55), (7.51,4.29,7.83,4.55), (7.615,9.025,7.935,9.285), (7.775,9.085,9.6,9.225)])
R(topsw, via2, [(-8.37,3.4,-8.17,3.6), (6.99,3.86,7.19,4.06), (-8.37,4.32,-8.17,4.52)])
R(topsw, met3, [(-8.435,3.335,-8.105,3.665), (-8.435,3.335,-8.105,4.585), (6.84,3.71,7.34,4.21), (-8.435,4.255,-8.105,4.585)])
R(topsw, via3, [(6.99,3.86,7.19,4.06)])
R(topsw, met4_pin, [(6.94,3.88,7.24,4.04)])
R(topsw, met4, [(6.79,3.66,7.39,4.26)])
A(topsw, nsdm, -7.94, 0.93, 1.13, 2.22, 26, 1, 0.59, 0)
R(topsw, nsdm, [(-8.75,4.085,8.75,4.755), (-8.75,4.29,-8.08,9.825), (8.08,4.29,8.75,9.825), (-8.73,9.36,8.73,10.03)])
A(topsw, psdm, -7.94, 4.77, 1.13, 4.19, 26, 1, 0.59, 0)
R(topsw, psdm, [(-8.73,-0.095,8.73,0.575), (-8.75,0.11,-8.08,3.63), (8.08,0.11,8.75,3.63), (-8.75,3.165,8.75,3.835)])
A(topsw, npc, -7.56, 0.595, 0.37, 0.37, 26, 2, 0.59, 8.375)
A(topsw, npc, -7.2, 0.595, 0.24, 0.37, 25, 2, 0.59, 8.375)
A(topsw, lvtn, -7.705, 0.875, 0.66, 2.33, 26, 1, 0.59, 0)
topsw.add(gdstk.Label('top', (7.09,3.96), layer=71, texttype=5))
topsw.add(gdstk.Label('vcm', (-9.45,3.5), layer=69, texttype=5))
topsw.add(gdstk.Label('phit', (9.45,0.78), layer=69, texttype=5))
topsw.add(gdstk.Label('phitb', (9.45,9.155), layer=69, texttype=5))
topsw.add(gdstk.Label('vss', (0,0.24), layer=68, texttype=5))
topsw.add(gdstk.Label('vdd', (0,9.695), layer=68, texttype=5))

lib.write_gds('topsw.gds')
